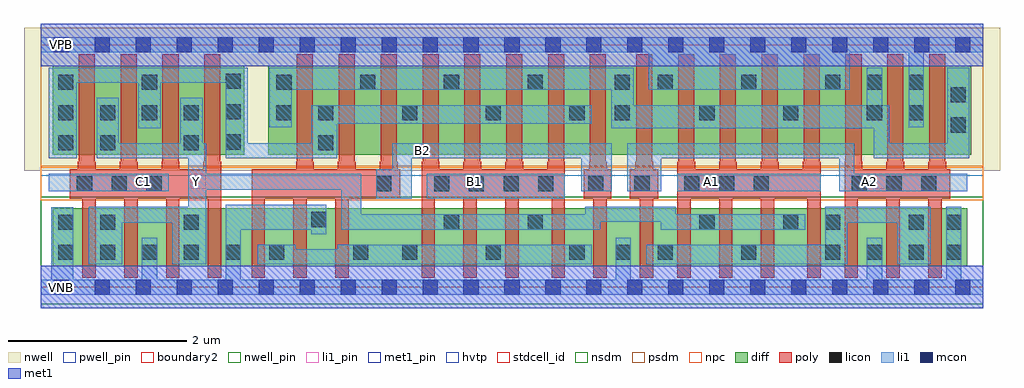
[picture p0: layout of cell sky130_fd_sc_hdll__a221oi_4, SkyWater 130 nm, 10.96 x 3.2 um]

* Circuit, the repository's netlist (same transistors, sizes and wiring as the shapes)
* Copyright 2020 The SkyWater PDK Authors
*
* Licensed under the Apache License, Version 2.0 (the "License");
* you may not use this file except in compliance with the License.
* You may obtain a copy of the License at
*
*     https://www.apache.org/licenses/LICENSE-2.0
*
* Unless required by applicable law or agreed to in writing, software
* distributed under the License is distributed on an "AS IS" BASIS,
* WITHOUT WARRANTIES OR CONDITIONS OF ANY KIND, either express or implied.
* See the License for the specific language governing permissions and
* limitations under the License.
*
* SPDX-License-Identifier: Apache-2.0

.SUBCKT sky130_fd_sc_hdll__a221oi_4 A1 A2 B1 B2 C1 VGND VNB VPB VPWR Y
*.PININFO A1:I A2:I B1:I B2:I C1:I VGND:I VNB:I VPB:I VPWR:I Y:O
MMPA0 pndA A1 VPWR VPB sky130_fd_pr__pfet_01v8_hvt m=4 w=1.0U l=0.18U mult=1 sa=0.265
+ sb=0.265 sd=0.28 area=0.063 perim=1.14
MMPA1 pndA A2 VPWR VPB sky130_fd_pr__pfet_01v8_hvt m=4 w=1.0U l=0.18U mult=1 sa=0.265
+ sb=0.265 sd=0.28 area=0.063 perim=1.14
MMPB0 pndB B1 pndA VPB sky130_fd_pr__pfet_01v8_hvt m=4 w=1.0U l=0.18U mult=1 sa=0.265
+ sb=0.265 sd=0.28 area=0.063 perim=1.14
MMPB1 pndB B2 pndA VPB sky130_fd_pr__pfet_01v8_hvt m=4 w=1.0U l=0.18U mult=1 sa=0.265
+ sb=0.265 sd=0.28 area=0.063 perim=1.14
MMPC0 Y C1 pndB VPB sky130_fd_pr__pfet_01v8_hvt m=4 w=1.0U l=0.18U mult=1 sa=0.265
+ sb=0.265 sd=0.28 area=0.063 perim=1.14
MMNA0 Y A1 sndA1 VNB sky130_fd_pr__nfet_01v8 m=4 w=0.65U l=0.15U mult=1 sa=0.265
+ sb=0.265 sd=0.28 area=0.063 perim=1.14
MMNA1 sndA1 A2 VGND VNB sky130_fd_pr__nfet_01v8 m=4 w=0.65U l=0.15U mult=1 sa=0.265
+ sb=0.265 sd=0.28 area=0.063 perim=1.14
MMNB0 Y B1 sndB1 VNB sky130_fd_pr__nfet_01v8 m=4 w=0.65U l=0.15U mult=1 sa=0.265
+ sb=0.265 sd=0.28 area=0.063 perim=1.14
MMNB1 sndB1 B2 VGND VNB sky130_fd_pr__nfet_01v8 m=4 w=0.65U l=0.15U mult=1 sa=0.265
+ sb=0.265 sd=0.28 area=0.063 perim=1.14
MMNC0 Y C1 VGND VNB sky130_fd_pr__nfet_01v8 m=4 w=0.65U l=0.15U mult=1 sa=0.265
+ sb=0.265 sd=0.28 area=0.063 perim=1.14
.ENDS sky130_fd_sc_hdll__a221oi_4

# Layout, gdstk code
import gdstk
lib = gdstk.Library(unit=1e-6, precision=1e-09)
def R(c, l, rs):  # rectangles x0, y0, x1, y1
    for r in rs: c.add(gdstk.rectangle(r[:2], r[2:], *l))
def A(c, l, x, y, w, h, nx, ny, dx, dy):  # array of equal rectangles
    R(c, l, [(x+i*dx, y+j*dy, x+i*dx+w, y+j*dy+h) for i in range(nx) for j in range(ny)])
def P(c, l, *ps):  # polygons
    for p in ps: c.add(gdstk.Polygon(p, *l))
nwell_pin = (64, 16)
nwell = (64, 20)
diff = (65, 20)
poly = (66, 20)
licon = (66, 44)
li1_pin = (67, 16)
li1 = (67, 20)
mcon = (67, 44)
met1_pin = (68, 16)
met1 = (68, 20)
hvtp = (78, 44)
stdcell_id = (81, 4)
nsdm = (93, 44)
psdm = (94, 20)
npc = (95, 20)
pwell_pin = (122, 16)
boundary2 = (236, 0)

sky130_fd_sc_hdll__a221o = lib.new_cell('sky130_fd_sc_hdll__a221oi_4')
R(sky130_fd_sc_hdll__a221o, nwell_pin, [(0.15,2.635,0.32,2.805)])
R(sky130_fd_sc_hdll__a221o, nwell, [(-0.19,1.305,10.77,2.91)])
R(sky130_fd_sc_hdll__a221o, diff, [(0.135,0.235,10.4,0.885), (0.135,1.485,2.285,2.485), (2.555,1.485,10.445,2.485)])
P(sky130_fd_sc_hdll__a221o, poly, [(5.885,1.41),(5.875,1.41),(5.875,2.615),(5.695,2.615),(5.695,1.41),(5.685,1.41),(5.685,1.325),(5.415,1.325),(5.415,1.41),(5.405,1.41),(5.405,2.615),(5.225,2.615),(5.225,1.41),(5.215,1.41),(5.215,1.325),(4.945,1.325),(4.945,1.41),(4.935,1.41),(4.935,2.615),(4.755,2.615),(4.755,1.41),(4.745,1.41),(4.745,1.325),(4.475,1.325),(4.475,1.41),(4.465,1.41),(4.465,2.615),(4.285,2.615),(4.285,1.41),(4.275,1.41),(4.275,0.105),(4.425,0.105),(4.425,0.995),(4.745,0.995),(4.745,0.105),(4.895,0.105),(4.895,0.995),(5.215,0.995),(5.215,0.105),(5.365,0.105),(5.365,0.995),(5.735,0.995),(5.735,0.105),(5.885,0.105)],
  [(6.405,1.325),(6.355,1.325),(6.355,1.41),(6.345,1.41),(6.345,2.615),(6.165,2.615),(6.165,1.41),(6.155,1.41),(6.155,1.325),(6.095,1.325),(6.095,0.995),(6.205,0.995),(6.205,0.105),(6.355,0.105),(6.355,0.995),(6.405,0.995)],
  [(6.935,1.325),(6.875,1.325),(6.875,1.41),(6.865,1.41),(6.865,2.615),(6.685,2.615),(6.685,1.41),(6.675,1.41),(6.675,1.325),(6.615,1.325),(6.615,0.995),(6.725,0.995),(6.725,0.105),(6.875,0.105),(6.875,0.995),(6.935,0.995)],
  [(8.755,1.41),(8.745,1.41),(8.745,2.615),(8.565,2.615),(8.565,1.41),(8.555,1.41),(8.555,1.325),(8.285,1.325),(8.285,1.41),(8.275,1.41),(8.275,2.615),(8.095,2.615),(8.095,1.41),(8.085,1.41),(8.085,1.325),(7.815,1.325),(7.815,1.41),(7.805,1.41),(7.805,2.615),(7.625,2.615),(7.625,1.41),(7.615,1.41),(7.615,1.325),(7.345,1.325),(7.345,1.41),(7.335,1.41),(7.335,2.615),(7.155,2.615),(7.155,1.41),(7.145,1.41),(7.145,0.105),(7.295,0.105),(7.295,0.995),(7.615,0.995),(7.615,0.105),(7.765,0.105),(7.765,0.995),(8.085,0.995),(8.085,0.105),(8.235,0.105),(8.235,0.995),(8.605,0.995),(8.605,0.105),(8.755,0.105)],
  [(2.025,1.41),(2.015,1.41),(2.015,2.615),(1.835,2.615),(1.835,1.41),(1.825,1.41),(1.825,1.325),(1.555,1.325),(1.555,1.41),(1.545,1.41),(1.545,2.615),(1.365,2.615),(1.365,1.41),(1.355,1.41),(1.355,1.325),(1.085,1.325),(1.085,1.41),(1.075,1.41),(1.075,2.615),(0.895,2.615),(0.895,1.41),(0.885,1.41),(0.885,1.325),(0.615,1.325),(0.615,1.41),(0.605,1.41),(0.605,2.615),(0.425,2.615),(0.425,1.41),(0.415,1.41),(0.415,1.325),(0.325,1.325),(0.325,0.995),(0.465,0.995),(0.465,0.105),(0.615,0.105),(0.615,0.995),(0.935,0.995),(0.935,0.105),(1.085,0.105),(1.085,0.995),(1.405,0.995),(1.405,0.105),(1.555,0.105),(1.555,0.995),(1.875,0.995),(1.875,0.105),(2.025,0.105)],
  [(4.035,1.325),(4.005,1.325),(4.005,1.41),(3.995,1.41),(3.995,2.615),(3.815,2.615),(3.815,1.41),(3.805,1.41),(3.805,1.325),(3.535,1.325),(3.535,1.41),(3.525,1.41),(3.525,2.615),(3.345,2.615),(3.345,1.41),(3.335,1.41),(3.335,1.325),(3.065,1.325),(3.065,1.41),(3.055,1.41),(3.055,2.615),(2.875,2.615),(2.875,1.41),(2.865,1.41),(2.865,1.325),(2.365,1.325),(2.365,0.105),(2.515,0.105),(2.515,0.995),(2.835,0.995),(2.835,0.105),(2.985,0.105),(2.985,0.995),(3.305,0.995),(3.305,0.105),(3.455,0.105),(3.455,0.995),(4.035,0.995)],
  [(10.21,1.325),(10.165,1.325),(10.165,1.41),(10.155,1.41),(10.155,2.615),(9.975,2.615),(9.975,1.41),(9.965,1.41),(9.965,1.325),(9.695,1.325),(9.695,1.41),(9.685,1.41),(9.685,2.615),(9.505,2.615),(9.505,1.41),(9.495,1.41),(9.495,1.325),(9.225,1.325),(9.225,1.41),(9.215,1.41),(9.215,2.615),(9.035,2.615),(9.035,1.41),(9.025,1.41),(9.025,0.105),(9.175,0.105),(9.175,0.995),(9.495,0.995),(9.495,0.105),(9.645,0.105),(9.645,0.995),(9.965,0.995),(9.965,0.105),(10.115,0.105),(10.115,0.995),(10.21,0.995)])
A(sky130_fd_sc_hdll__a221o, licon, 0.195, 0.305, 0.17, 0.17, 5, 1, 0.47, 0)
A(sky130_fd_sc_hdll__a221o, licon, 4.055, 0.305, 0.17, 0.17, 3, 1, 0.94, 0)
A(sky130_fd_sc_hdll__a221o, licon, 6.925, 0.305, 0.17, 0.17, 3, 2, 0.94, 1.91)
A(sky130_fd_sc_hdll__a221o, licon, 0.405, 1.075, 0.17, 0.17, 3, 1, 0.39, 0)
A(sky130_fd_sc_hdll__a221o, licon, 4.415, 1.075, 0.17, 0.17, 4, 1, 0.39, 0)
A(sky130_fd_sc_hdll__a221o, licon, 7.225, 1.075, 0.17, 0.17, 3, 1, 0.39, 0)
A(sky130_fd_sc_hdll__a221o, licon, 9.105, 1.075, 0.17, 0.17, 3, 1, 0.39, 0)
A(sky130_fd_sc_hdll__a221o, licon, 2.075, 1.545, 0.17, 0.17, 1, 3, 0, 0.34)
A(sky130_fd_sc_hdll__a221o, licon, 0.195, 1.875, 0.17, 0.17, 4, 1, 0.47, 0)
A(sky130_fd_sc_hdll__a221o, licon, 3.115, 1.875, 0.17, 0.17, 4, 1, 0.94, 0)
A(sky130_fd_sc_hdll__a221o, licon, 7.395, 1.875, 0.17, 0.17, 3, 1, 0.94, 0)
A(sky130_fd_sc_hdll__a221o, licon, 2.645, 2.215, 0.17, 0.17, 4, 1, 0.94, 0)
R(sky130_fd_sc_hdll__a221o, licon, [(2.565,0.305,2.735,0.475), (3.505,0.305,3.675,0.475), (6.455,0.305,6.625,0.475), (9.275,0.305,9.445,0.475), (9.745,0.305,9.915,0.475), (10.165,0.305,10.335,0.475), (0.195,0.645,0.365,0.815), (0.665,0.645,0.835,0.815), (1.605,0.645,1.775,0.815), (4.525,0.645,4.695,0.815), (5.465,0.645,5.635,0.815), (7.395,0.645,7.565,0.815), (8.335,0.645,8.505,0.815), (8.805,0.645,8.975,0.815), (9.745,0.645,9.915,0.815), (10.165,0.645,10.335,0.815), (3.035,0.675,3.205,0.845), (3.765,1.075,3.935,1.245), (6.145,1.075,6.315,1.245), (6.665,1.075,6.835,1.245), (0.195,1.535,0.365,1.705), (0.665,1.535,0.835,1.705), (1.605,1.535,1.775,1.705), (3.115,1.535,3.285,1.705), (10.215,1.735,10.385,1.905), (2.645,1.875,2.815,2.045), (6.445,1.875,6.615,2.045), (9.745,1.875,9.915,2.045), (10.215,2.075,10.385,2.245), (0.195,2.215,0.365,2.385), (1.135,2.215,1.305,2.385), (6.445,2.215,6.615,2.385), (9.275,2.215,9.445,2.385), (9.745,2.215,9.915,2.385)])
R(sky130_fd_sc_hdll__a221o, li1_pin, [(1.07,1.105,1.24,1.275), (1.68,1.105,1.85,1.275), (4.76,1.105,4.93,1.275), (7.51,1.105,7.68,1.275), (9.37,1.105,9.54,1.275), (4.25,1.445,4.42,1.615)])
R(sky130_fd_sc_hdll__a221o, li1, [(4.335,0.995,5.885,1.275), (0.09,1.075,1.435,1.275), (7.145,1.075,8.755,1.275)])
P(sky130_fd_sc_hdll__a221o, li1, [(10.58,0.085),(10.335,0.085),(10.335,0.905),(10.165,0.905),(10.165,0.085),(9.445,0.085),(9.445,0.555),(9.275,0.555),(9.275,0.085),(6.625,0.085),(6.625,0.555),(6.455,0.555),(6.455,0.085),(2.245,0.085),(2.245,0.645),(3.035,0.645),(3.035,0.595),(3.205,0.595),(3.205,0.925),(2.075,0.925),(2.075,0.085),(1.305,0.085),(1.305,0.555),(1.135,0.555),(1.135,0.085),(0.365,0.085),(0.365,0.895),(0.115,0.895),(0.115,0.085),(0,0.085),(0,-0.085),(10.58,-0.085)],
  [(10.58,2.805),(0,2.805),(0,2.635),(6.825,2.635),(6.825,2.215),(9.085,2.215),(9.085,2.635),(9.745,2.635),(9.745,1.795),(9.915,1.795),(9.915,2.635),(10.58,2.635)],
  [(10.4,1.275),(9.135,1.275),(9.135,1.615),(6.585,1.615),(6.585,1.075),(6.965,1.075),(6.965,1.445),(8.965,1.445),(8.965,1.075),(10.4,1.075)],
  [(6.185,2.045),(3.035,2.045),(3.035,1.615),(2.325,1.615),(2.325,2.465),(0.09,2.465),(0.09,1.445),(0.405,1.445),(0.405,2.295),(1.095,2.295),(1.095,1.785),(1.345,1.785),(1.345,2.295),(2.075,2.295),(2.075,1.445),(3.33,1.445),(3.33,1.835),(6.185,1.835)],
  [(9.995,0.905),(8.805,0.905),(8.805,0.475),(6.795,0.475),(6.795,0.255),(9.055,0.255),(9.055,0.725),(9.615,0.725),(9.615,0.255),(9.995,0.255)],
  [(10.425,2.465),(10.175,2.465),(10.175,1.615),(9.525,1.615),(9.525,2.045),(9.445,2.045),(9.445,2.465),(9.275,2.465),(9.275,2.045),(6.655,2.045),(6.655,2.465),(2.565,2.465),(2.565,1.795),(2.815,1.795),(2.815,2.215),(6.405,2.215),(6.405,1.785),(9.355,1.785),(9.355,1.445),(10.425,1.445)],
  [(6.185,0.475),(3.335,0.475),(3.335,0.425),(2.86,0.425),(2.86,0.475),(2.435,0.475),(2.435,0.255),(6.185,0.255)],
  [(6.41,1.615),(3.945,1.615),(3.945,1.325),(3.765,1.325),(3.765,0.995),(4.165,0.995),(4.165,1.445),(6.065,1.445),(6.065,1.075),(6.41,1.075)],
  [(8.585,0.82),(7.13,0.82),(7.13,0.905),(6.11,0.905),(6.11,0.82),(3.595,0.82),(3.595,1.275),(1.855,1.275),(1.855,1.615),(1.815,1.615),(1.815,2.125),(1.565,2.125),(1.565,1.615),(0.875,1.615),(0.875,2.125),(0.625,2.125),(0.625,1.445),(1.655,1.445),(1.655,0.905),(0.535,0.905),(0.535,0.255),(0.915,0.255),(0.915,0.725),(1.475,0.725),(1.475,0.255),(1.855,0.255),(1.855,1.095),(3.375,1.095),(3.375,0.645),(6.28,0.645),(6.28,0.735),(6.96,0.735),(6.96,0.645),(8.585,0.645)])
A(sky130_fd_sc_hdll__a221o, mcon, 0.145, -0.085, 0.17, 0.17, 23, 2, 0.46, 2.72)
R(sky130_fd_sc_hdll__a221o, met1_pin, [(0.15,-0.085,0.32,0.085), (0.15,2.635,0.32,2.805)])
R(sky130_fd_sc_hdll__a221o, met1, [(0,-0.24,10.58,0.24), (0,2.48,10.58,2.96)])
R(sky130_fd_sc_hdll__a221o, hvtp, [(0,1.25,10.58,2.72)])
R(sky130_fd_sc_hdll__a221o, stdcell_id, [(0,0,10.58,2.72)])
R(sky130_fd_sc_hdll__a221o, nsdm, [(0,-0.19,10.58,1.015)])
R(sky130_fd_sc_hdll__a221o, psdm, [(0,1.355,10.58,2.91)])
R(sky130_fd_sc_hdll__a221o, npc, [(0,0.975,10.58,1.345)])
R(sky130_fd_sc_hdll__a221o, pwell_pin, [(0.15,-0.085,0.32,0.085)])
R(sky130_fd_sc_hdll__a221o, boundary2, [(0,0,10.58,2.72)])
sky130_fd_sc_hdll__a221o.add(gdstk.Label('A2', (9.3,1.19), layer=67, texttype=5))
sky130_fd_sc_hdll__a221o.add(gdstk.Label('Y', (1.745,1.19), layer=67, texttype=5))
sky130_fd_sc_hdll__a221o.add(gdstk.Label('C1', (1.155,1.19), layer=67, texttype=5))
sky130_fd_sc_hdll__a221o.add(gdstk.Label('A1', (7.525,1.19), layer=67, texttype=5))
sky130_fd_sc_hdll__a221o.add(gdstk.Label('B2', (4.29,1.53), layer=67, texttype=5))
sky130_fd_sc_hdll__a221o.add(gdstk.Label('B1', (4.865,1.19), layer=67, texttype=5))
sky130_fd_sc_hdll__a221o.add(gdstk.Label('VNB', (0.235,0), layer=64, texttype=59))
sky130_fd_sc_hdll__a221o.add(gdstk.Label('VPB', (0.235,2.72), layer=64, texttype=5))
sky130_fd_sc_hdll__a221o.add(gdstk.Label('VPWR', (0.23,2.72), layer=68, texttype=5))
sky130_fd_sc_hdll__a221o.add(gdstk.Label('VGND', (0.23,0), layer=68, texttype=5))

lib.write_gds('sky130_fd_sc_hdll__a221oi_4.gds')
